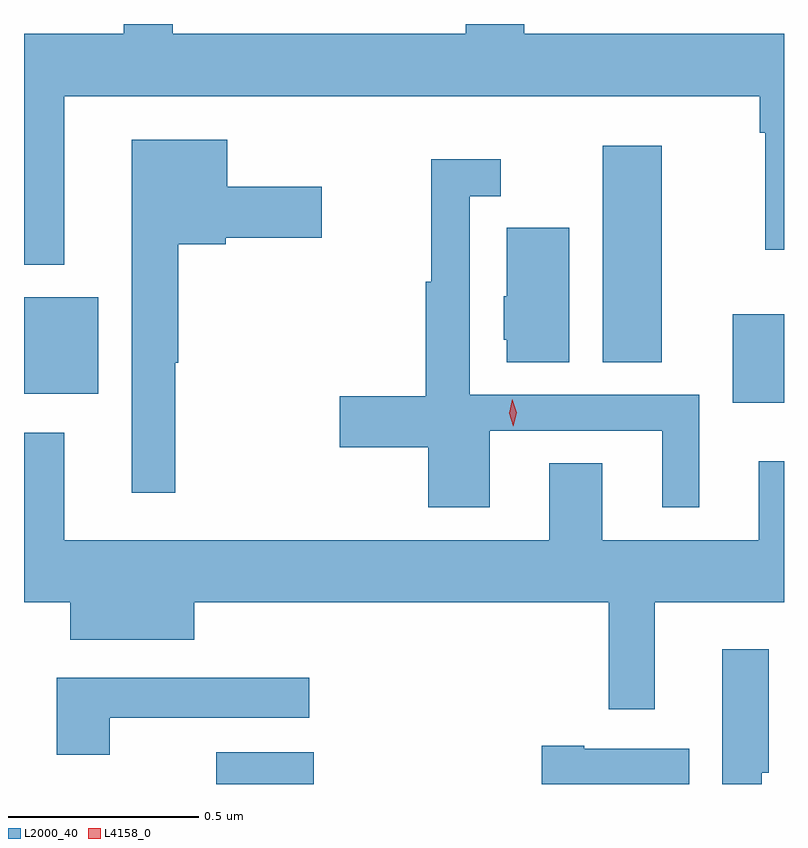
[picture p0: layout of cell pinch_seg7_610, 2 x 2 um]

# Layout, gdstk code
import gdstk
lib = gdstk.Library(unit=1e-6, precision=1e-09)
def R(c, l, rs):  # rectangles x0, y0, x1, y1
    for r in rs: c.add(gdstk.rectangle(r[:2], r[2:], *l))
def P(c, l, *ps):  # polygons
    for p in ps: c.add(gdstk.Polygon(p, *l))
L2000_40 = (2000, 40)
L4158_0 = (4158, 0)

pinch_seg7_610 = lib.new_cell('pinch_seg7_610')
R(pinch_seg7_610, L2000_40, [(148.139,1045.426,148.396,1045.51), (149.498,1046.429,149.633,1046.662), (147.633,1046.453,147.829,1046.707), (149.156,1046.536,149.311,1047.106)])
P(pinch_seg7_610, L2000_40, [(147.739,1047.236),(149.569,1047.236),(149.569,1047.14),(149.584,1047.14),(149.584,1046.832),(149.633,1046.832),(149.633,1047.4),(148.949,1047.4),(148.949,1047.426),(148.796,1047.426),(148.796,1047.4),(148.025,1047.4),(148.025,1047.426),(147.895,1047.426),(147.895,1047.4),(147.633,1047.4),(147.633,1046.792),(147.739,1046.792)],
  [(148.031,1046.534),(148.039,1046.534),(148.039,1046.846),(148.164,1046.846),(148.164,1046.864),(148.417,1046.864),(148.417,1046.998),(148.168,1046.998),(148.168,1047.121),(147.917,1047.121),(147.917,1046.193),(148.031,1046.193)],
  [(148.858,1046.355),(149.312,1046.355),(149.312,1046.154),(149.41,1046.154),(149.41,1046.451),(148.806,1046.451),(148.806,1046.973),(148.888,1046.973),(148.888,1047.07),(148.705,1047.07),(148.705,1046.748),(148.69,1046.748),(148.69,1046.447),(148.464,1046.447),(148.464,1046.312),(148.697,1046.312),(148.697,1046.154),(148.858,1046.154)],
  [(149.068,1046.89),(148.904,1046.89),(148.904,1046.709),(148.895,1046.709),(148.895,1046.595),(148.904,1046.595),(148.904,1046.536),(149.068,1046.536)],
  [(149.293,1045.904),(149.633,1045.904),(149.633,1046.275),(149.567,1046.275),(149.567,1046.068),(149.155,1046.068),(149.155,1046.27),(149.015,1046.27),(149.015,1046.068),(147.739,1046.068),(147.739,1046.35),(147.633,1046.35),(147.633,1045.904),(147.755,1045.904),(147.755,1045.805),(148.081,1045.805),(148.081,1045.904),(149.172,1045.904),(149.172,1045.623),(149.293,1045.623)],
  [(149.575,1045.455),(149.593,1045.455),(149.593,1045.78),(149.471,1045.78),(149.471,1045.426),(149.575,1045.426)],
  [(147.859,1045.601),(148.384,1045.601),(148.384,1045.705),(147.719,1045.705),(147.719,1045.503),(147.859,1045.503)],
  [(149.383,1045.519),(149.107,1045.519),(149.107,1045.527),(148.995,1045.527),(148.995,1045.426),(149.383,1045.426)])
P(pinch_seg7_610, L4158_0, [(148.921,1046.367),(148.921,1046.367),(148.91,1046.402),(148.918,1046.439),(148.918,1046.439),(148.918,1046.439),(148.93,1046.403),(148.921,1046.367)])

lib.write_gds('pinch_seg7_610.gds')
